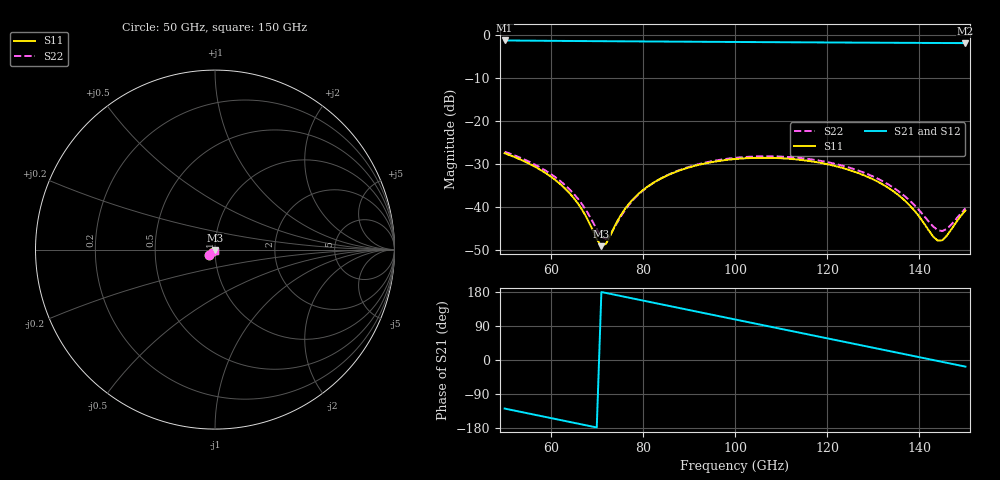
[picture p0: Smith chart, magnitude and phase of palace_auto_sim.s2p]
#  GHZ S DB R 50
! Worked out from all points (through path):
!   101 points, 50 GHz to 150 GHz, reference 50 ohm
!   highest |S21| = -1.18 dB at 50 GHz (marker M1); lowest = -1.8 dB at 150 GHz (marker M2)
!   group delay of S21, straight-line fit = 6.92 ps
!   lowest |S11| = -49.0 dB at 71 GHz (marker M3), VSWR 1.01, Z = 49.8 - j0.294 ohm
!   |S11| at or under -10 dB: start of sweep to end of sweep
!   |S22| runs from -47.3 to -27.1 dB; largest |S21 - S12| = 9.4e-14
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50  -27.40 -139.5  -1.18 -128.1  -1.18 -128.1  -27.05 -139.0
60  -32.82 -164.9  -1.26 -153.1  -1.26 -153.1  -32.21 -163.7
64  -36.57 -171.7  -1.29 -163.1  -1.29 -163.1  -35.70 -170.2
67  -40.85 -171.3  -1.32 -170.6  -1.32 -170.6  -39.54 -169.9
71  -49.00 -123.8  -1.34 179.4  -1.34 179.4  -46.81 -135.2
72  -48.45 -96.7  -1.35 176.9  -1.35 176.9  -47.30 -112.5
73  -46.36 -78.3  -1.36 174.4  -1.36 174.4  -46.19 -92.1
75  -42.17 -63.8  -1.37 169.4  -1.37 169.4  -42.48 -71.4
77  -39.13 -61.2  -1.38 164.4  -1.38 164.4  -39.38 -65.7
80  -35.98 -63.9  -1.40 156.9  -1.40 156.9  -36.10 -66.3
84  -33.23 -71.5  -1.43 146.9  -1.43 146.9  -33.21 -72.7
91  -30.40 -88.1  -1.47 129.5  -1.47 129.5  -30.25 -88.2
100  -28.74 -110.9  -1.53 107.0  -1.53 107.0  -28.47 -110.2
108  -28.47 -131.2  -1.58 87.1  -1.58 87.1  -28.11 -129.8
117  -29.34 -153.7  -1.63 64.7  -1.63 64.7  -28.89 -151.5
126  -31.72 -174.7  -1.67 42.3  -1.67 42.3  -31.14 -171.6
134  -35.96 170.3  -1.71 22.4  -1.71 22.4  -35.14 174.8
138  -39.61 168.1  -1.73 12.4  -1.73 12.4  -38.47 173.5
144  -47.72 -149.1  -1.76 -2.5  -1.76 -2.5  -45.28 -151.0
145  -47.62 -130.6  -1.77 -5.0  -1.77 -5.0  -45.48 -136.6
146  -46.54 -115.0  -1.77 -7.5  -1.77 -7.5  -44.95 -122.8
150  -40.69 -91.8  -1.79 -17.5  -1.79 -17.5  -40.20 -95.9
